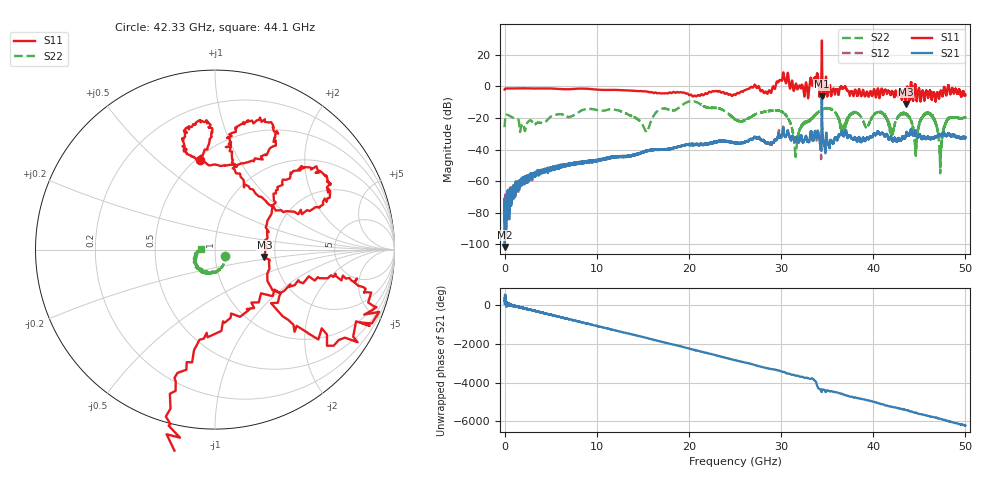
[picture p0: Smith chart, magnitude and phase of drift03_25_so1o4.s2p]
!Created with skrf (http://scikit-rf.org).
# Hz S RI R 50.0
!freq ReS11 ImS11 ReS21 ImS21 ReS12 ImS12 ReS22 ImS22
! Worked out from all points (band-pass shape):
!   10000 points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, 5.3 MHz to 50 GHz, reference 50 ohm
!   highest |S21| = -6.27 dB at 34.43 GHz (marker M1); lowest = -101.6 dB at 30.3 MHz (marker M2)
!   |S21| within 3 dB of the highest: 34.42764 GHz to 34.43532 GHz (7.688 MHz wide, 0.0223 % of centre)
!   lowest |S11| = -11.1 dB at 43.53 GHz (marker M3), VSWR 1.77, Z = 87.5 - j7.92 ohm
!   |S11| at or under -10 dB: 43.49197 GHz to 43.54311 GHz (51.14 MHz wide, 0.118 % of centre)
!   |S22| runs from -55.0 to -9.4 dB; largest |S21 - S12| = 0.14
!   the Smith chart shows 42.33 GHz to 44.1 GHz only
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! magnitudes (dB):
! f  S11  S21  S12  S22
! 5.3 MHz  -2.1  -75.2  -76.1  -25.9
! 30.3 MHz  -1.8  -101.6  -80.1  -22.5
! 2.8 GHz  -1.4  -56.0  -56.5  -21.5
! 8.34 GHz  -1.5  -47.9  -48.5  -15.3
! 12.46 GHz  -2.4  -44.4  -44.4  -15.5
! 15.39 GHz  -3.4  -40.9  -40.7  -28.8
! 16.67 GHz  -4.4  -40.0  -40.0  -15.3
! 20.45 GHz  -6.4  -37.2  -36.9  -9.5
! 25.01 GHz  -5.5  -35.8  -35.9  -20.9
! 29.93 GHz  4.0  -32.5  -31.8  -15.6
! 31.6 GHz  1.5  -33.7  -33.9  -43.2
! 33.34 GHz  2.5  -30.3  -30.6  -20.4
! 34.43 GHz  28.9  -6.3  -8.2  -14.6
! 36.69 GHz  -1.3  -29.9  -29.9  -28.8
! 37.95 GHz  -3.9  -32.9  -32.9  -16.3
! 41.67 GHz  -3.1  -33.5  -33.3  -22.6
! 43.53 GHz  -11.1  -31.3  -31.2  -17.2
! 44.62 GHz  -2.0  -29.4  -29.4  -40.7
! 46.24 GHz  -4.0  -33.0  -32.9  -17.4
! 47.29 GHz  -3.1  -31.4  -31.0  -48.4
! 48.12 GHz  0.2  -30.2  -30.2  -20.9
! 50 GHz  -5.3  -32.1  -32.8  -19.6
